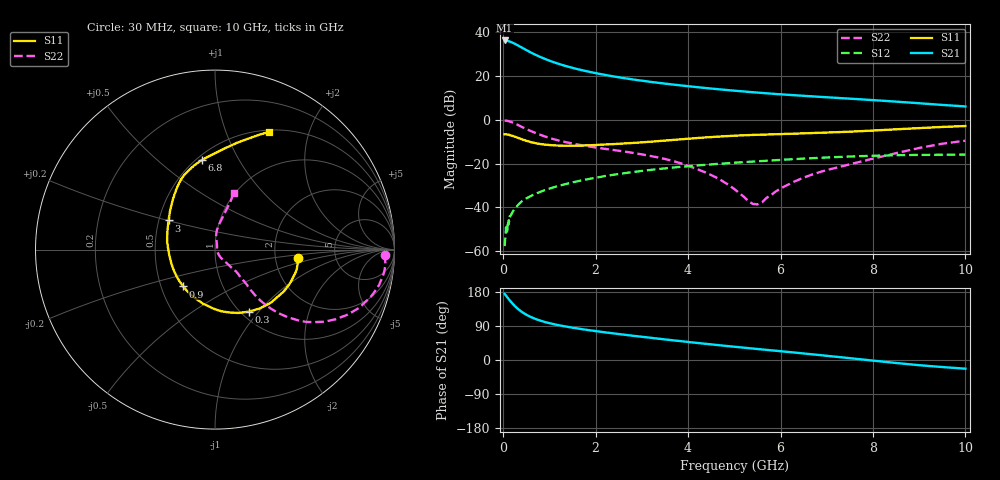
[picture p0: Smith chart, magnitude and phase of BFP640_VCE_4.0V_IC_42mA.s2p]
! Infineon Technologies  Discrete & RF Semiconductors
! BFP640
! VCE =  4.0 V,  IC =  42 mA
! Common Emitter S-Parameters:  Apr 2013
# GHz  S  MA  R  50
!  f  S11  S21  S12  S22
! GHz  MAG  ANG  MAG  ANG  MAG  ANG  MAG  ANG
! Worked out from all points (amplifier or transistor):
!   99 points, 30 MHz to 10 GHz, reference 50 ohm
!   highest |S21| = 36.2 dB at 30 MHz (marker M1)
!   |S21| within 3 dB of that: start of sweep to 381 MHz
!   unconditionally stable (mu >= 1): 1.845 GHz to end of sweep
!   at 350 MHz: K = 0.48, MSG = 35.9 dB, |S12| = -38.3 dB
!   at 3.5 GHz: K = 1.06, MAG = 17.9 dB, |S12| = -22.2 dB
!   at 10 GHz: K = 1.06, MAG = 9.5 dB, |S12| = -15.9 dB
!   S11 on the Smith chart (normalised r, x): 30 MHz: 2.69, -0.34; 300 MHz: 1.08, -0.89; 900 MHz: 0.65, -0.29; 3 GHz: 0.56, +0.20; 6.8 GHz: 0.53, +0.71; 10 GHz: 0.52, +1.42
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0.03  0.465 -6.1  64.77 174.4  0.0013 62.0  0.9461 -1.7
0.08  0.4647 -17.4  63.78 166.7  0.0026 89.6  0.9485 -8.3
0.15  0.444 -33.3  60.71 156.0  0.0062 77.1  0.907 -16.8
0.2  0.4296 -43.5  57.76 149.0  0.0077 73.2  0.8671 -21.9
0.25  0.4121 -52.8  54.55 142.5  0.0095 71.0  0.8221 -26.2
0.3  0.3933 -61.6  51.12 136.8  0.0107 68.7  0.7758 -30.0
0.35  0.3765 -69.7  47.78 131.7  0.0122 68.1  0.7329 -33.2
0.45  0.3453 -84.2  41.74 123.1  0.0149 68.1  0.6523 -38.2
0.5  0.3308 -90.7  39.05 119.5  0.0161 66.2  0.6153 -40.1
0.6  0.3086 -102.5  34.32 113.3  0.0182 65.7  0.5514 -43.0
0.7  0.2915 -112.9  30.44 108.2  0.0206 65.2  0.4991 -45.1
0.9  0.2709 -130.7  24.62 100.3  0.0249 64.8  0.417 -47.5
1.2  0.2575 -151.5  18.92 91.8  0.031 63.2  0.3363 -48.7
1.7  0.2575 -175.5  13.59 81.5  0.0414 60.7  0.2624 -47.7
2.3  0.2757 165.1  10.14 71.5  0.0536 56.7  0.2098 -47.2
3  0.3052 147.9  7.807 61.3  0.0679 51.2  0.1617 -46.3
3.4  0.329 139.7  6.894 55.7  0.0757 47.9  0.134 -47.6
5.1  0.4376 115.0  4.525 33.8  0.1061 33.0  0.0215 -46.5
6.7  0.4983 99.8  3.419 14.8  0.133 18.8  0.0569 81.3
6.8  0.5027 98.6  3.365 13.6  0.1346 17.8  0.0614 82.2
8.5  0.6057 78.6  2.597 -7.9  0.1552 0.6  0.1728 77.8
10  0.7203 65.5  2.017 -22.9  0.1603 -11.5  0.3327 71.7
